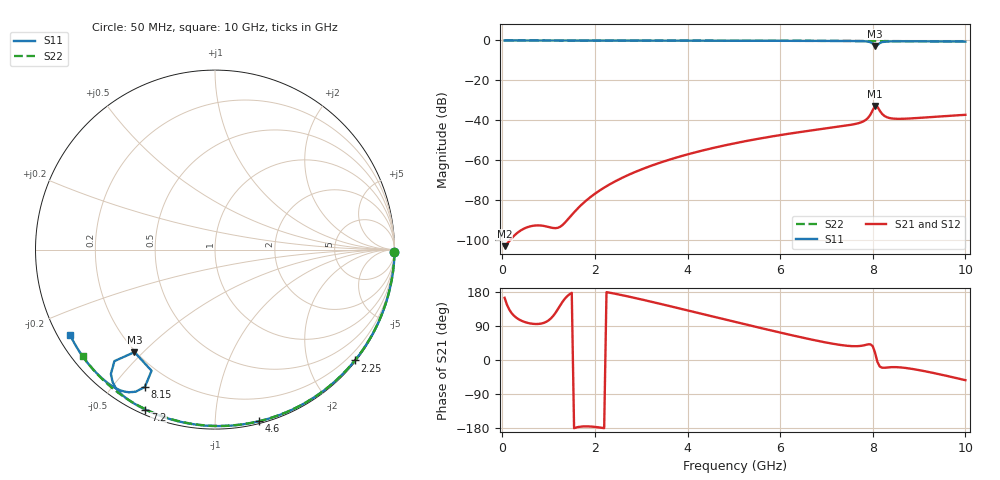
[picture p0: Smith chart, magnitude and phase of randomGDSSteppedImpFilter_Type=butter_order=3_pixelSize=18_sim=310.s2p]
! freq	dB(S11)	phase(S11)	dB(S12)	phase(S12)
!  dB(S21)	phase(S21)	dB(S22)	phase(S22)
!S-par simulation data
#  GHz  S  DB  R 50
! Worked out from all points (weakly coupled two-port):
!   200 points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, 50 MHz to 10 GHz, reference 50 ohm
!   highest |S21| = -32.76 dB at 8.05 GHz (marker M1); lowest = -102.9 dB at 50 MHz (marker M2)
!   lowest |S11| = -2.8 dB at 8.05 GHz (marker M3), VSWR 6.31, Z = 9.74 - j23.6 ohm
!   |S11| at or under -10 dB: nowhere
!   |S22| runs from -0.5 to 0.0 dB; largest |S21 - S12| = 0
!   S11 on the Smith chart (normalised r, x): 50 MHz: open; 2.25 GHz: 0.03, -2.87; 4.6 GHz: 0.02, -1.29; 7.2 GHz: 0.02, -0.65; 8.15 GHz: 0.10, -0.61; 10 GHz: 0.03, -0.27
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0.05  -0.00 -0.9  -102.92 164.1  -102.92 164.1  -0.00 -0.8
0.9  -0.02 -15.6  -92.80 98.2  -92.80 98.2  -0.02 -14.7
1.75  -0.04 -30.0  -81.35 -175.3  -81.35 -175.3  -0.04 -28.3
1.85  -0.04 -31.7  -79.35 -175.2  -79.35 -175.2  -0.04 -29.8
2.25  -0.05 -38.4  -72.92 179.1  -72.92 179.1  -0.05 -36.1
2.75  -0.06 -46.6  -66.99 166.8  -66.99 166.8  -0.06 -43.8
3.4  -0.08 -57.0  -61.20 148.5  -61.20 148.5  -0.07 -53.7
4.6  -0.11 -75.6  -53.54 113.2  -53.54 113.2  -0.10 -71.2
5.05  -0.13 -82.3  -51.30 99.9  -51.30 99.9  -0.12 -77.5
6.7  -0.21 -106.2  -44.93 53.3  -44.93 53.3  -0.19 -99.8
7.2  -0.25 -113.5  -43.35 41.6  -43.35 41.6  -0.22 -106.2
7.6  -0.30 -120.0  -41.89 36.4  -41.89 36.4  -0.25 -111.3
7.8  -0.40 -124.4  -40.43 38.5  -40.43 38.5  -0.27 -113.9
7.95  -0.88 -129.9  -37.10 41.4  -37.10 41.4  -0.28 -115.8
8  -1.55 -132.1  -34.85 36.3  -34.85 36.3  -0.28 -116.4
8.05  -2.78 -128.2  -32.76 18.8  -32.76 18.8  -0.28 -117.0
8.1  -2.36 -117.6  -33.16 -5.0  -33.16 -5.0  -0.28 -117.6
8.15  -1.32 -117.1  -35.11 -17.1  -35.11 -17.1  -0.29 -118.3
8.25  -0.65 -121.1  -37.73 -20.5  -37.73 -20.5  -0.30 -119.5
8.35  -0.49 -124.0  -38.75 -19.3  -38.75 -19.3  -0.31 -120.8
8.95  -0.42 -134.5  -38.82 -25.6  -38.82 -25.6  -0.36 -128.2
10  -0.56 -149.3  -37.20 -53.2  -37.20 -53.2  -0.48 -141.2
